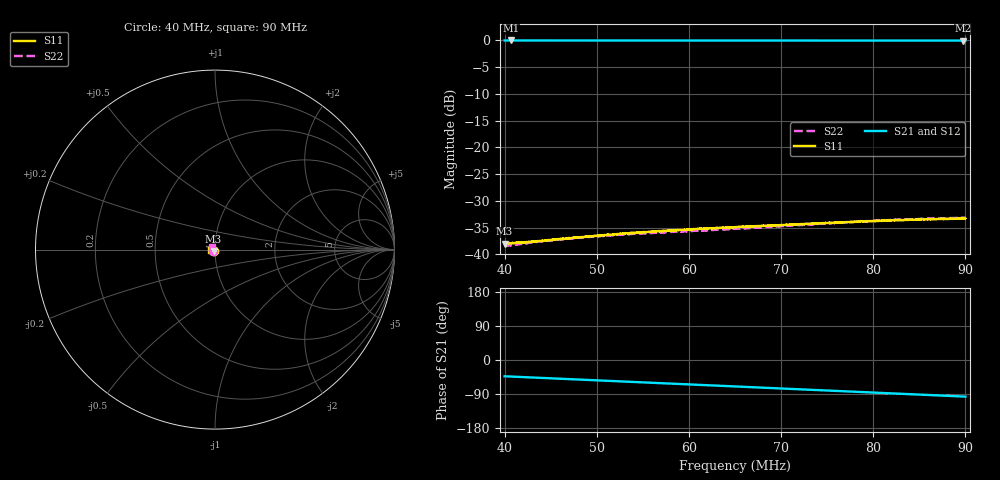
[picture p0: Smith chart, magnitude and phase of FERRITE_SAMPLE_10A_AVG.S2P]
!Agilent Technologies,E5061B,MY49102235,A.02.00
!Date: Mon Jul 03 10:59:46 2023
!Data & Calibration Information:
!Freq	S11:SOLT2(ON)	S21:SOLT2(ON)	S12:SOLT2(ON)	S22:SOLT2(ON)
# Hz S RI R 50
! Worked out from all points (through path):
!   1600 points, 40 MHz to 90 MHz, reference 50 ohm
!   highest |S21| = 0.00 dB at 40.69 MHz (marker M1); lowest = 0.0 dB at 89.78 MHz (marker M2)
!   group delay of S21, straight-line fit = 2.99 ns
!   lowest |S11| = -38.0 dB at 40 MHz (marker M3), VSWR 1.03, Z = 49.2 - j0.97 ohm
!   |S11| at or under -10 dB: start of sweep to end of sweep
!   |S22| runs from -38.5 to -33.2 dB; largest |S21 - S12| = 0.0012
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4e7  -0.0078 -0.00985  0.7317 -0.6812  0.7318 -0.6803  -0.0102 -0.0063
4.068793e7  -0.00798 -0.00986  0.7231 -0.6906  0.7231 -0.6895  -0.0104 -0.00628
4.196998e7  -0.00834 -0.00991  0.706 -0.7074  0.7061 -0.7069  -0.0109 -0.00611
4.312695e7  -0.0086 -0.00983  0.6905 -0.7226  0.6906 -0.722  -0.0116 -0.00594
4.444028e7  -0.00903 -0.01  0.6723 -0.7392  0.6726 -0.7387  -0.0121 -0.00571
4.57536e7  -0.00951 -0.0101  0.654 -0.7555  0.6541 -0.755  -0.0126 -0.00547
4.834897e7  -0.0102 -0.0103  0.6164 -0.7863  0.6165 -0.7858  -0.0135 -0.00472
5.000625e7  -0.0108 -0.0104  0.5916 -0.805  0.5916 -0.8045  -0.0141 -0.00421
5.285178e7  -0.0116 -0.0104  0.5477 -0.8353  0.5478 -0.8347  -0.0149 -0.00329
5.666667e7  -0.0126 -0.0106  0.4865 -0.8719  0.4866 -0.8714  -0.016 -0.00175
6.082552e7  -0.0139 -0.0102  0.4172 -0.907  0.4172 -0.9064  -0.0166 -0.000369
6.166979e7  -0.0141 -0.0101  0.4026 -0.9135  0.4028 -0.9129  -0.0167 -0.000181
6.501563e7  -0.0154 -0.00941  0.3445 -0.937  0.3449 -0.9362  -0.0173 0.000991
6.901814e7  -0.0167 -0.00831  0.2733 -0.9601  0.2739 -0.9594  -0.018 0.00228
7.33646e7  -0.0181 -0.0071  0.1939 -0.979  0.1946 -0.9784  -0.0188 0.0039
7.746091e7  -0.0191 -0.00574  0.1181 -0.9905  0.1185 -0.9901  -0.0193 0.00557
8.115072e7  -0.02 -0.00494  0.0491 -0.9958  0.0495 -0.9955  -0.0194 0.00743
8.16823e7  -0.0202 -0.00472  0.0392 -0.9962  0.0397 -0.9959  -0.0194 0.00768
8.34334e7  -0.0205 -0.00425  0.00635 -0.9968  0.00683 -0.9965  -0.0193 0.0085
8.596623e7  -0.0209 -0.00363  -0.0408 -0.9957  -0.0404 -0.9954  -0.019 0.00986
8.978111e7  -0.0215 -0.00256  -0.1118 -0.9897  -0.1114 -0.9895  -0.0186 0.0116
9e7  -0.0215 -0.00242  -0.1156 -0.9893  -0.1154 -0.989  -0.0185 0.0118
